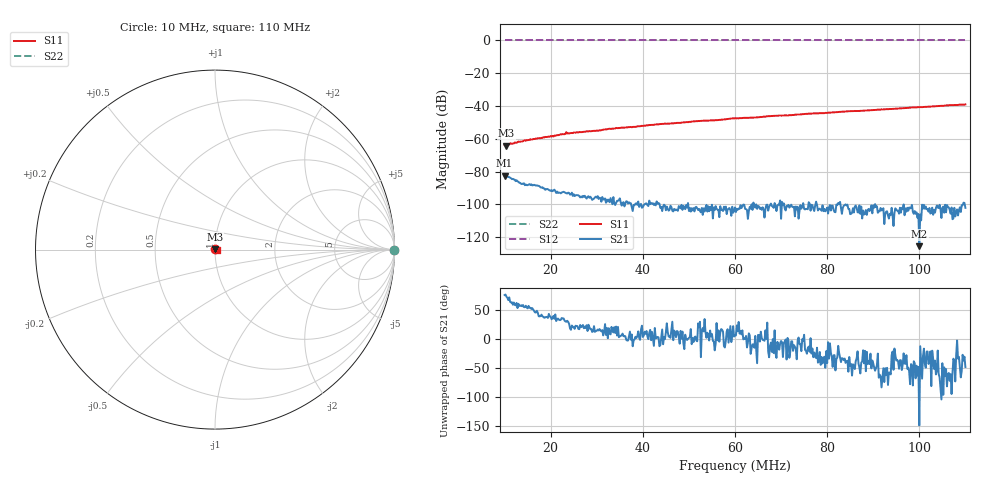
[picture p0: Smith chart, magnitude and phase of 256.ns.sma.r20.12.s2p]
! Anritsu VNA Master:  Model: MS2036C/10/77
! SN:  1601066
! /card0/usr/256.ns.sma.r20.12.s2p
! Existing Calibration Information:
! TYPE:  Current Settings,  Active Cal Settings
! TIME:  12/19/2017 03:41:24 PM,  12/19/2017 03:30:41 PM
! INTERNAL TEMP:  47.8 C,  48.0 C
! # POINTS:  501,  501
! START FREQ:  10.000 MHz,  10.000 MHz
! STOP FREQ:  110.000 MHz,  110.000 MHz
! SOURCE POWER:  High,  High
! IFBW:  100 Hz,  100 Hz
! AVG FACTOR:  1 ,  1
! REF PLANE 1:  0 mm,  0 mm
! REF PLANE 2:  0 mm,  0 mm
! CAL TYPE:  Full S11,  Full S11
! CAL METHOD:  SOLT,  SOLT
! CAL LINE TYPE:  Coax,  Coax
! DUT PORT 1:  N-Conn(F),  N-Conn(F)
! DUT PORT 2:  K-Conn(F),  K-Conn(F)
! CAL STATUS:  OK: Accuracy High,  --
# GHZ S DB R 50.0
! FREQ.GHZ  S11DB  S11A  S21DB  S21A  S12DB  S12A  S22DB  S22A
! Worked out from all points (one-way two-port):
!   501 points, 10 MHz to 110 MHz, reference 50 ohm
!   highest |S21| = -82.59 dB at 10 MHz (marker M1); lowest = -125.6 dB at 100 MHz (marker M2)
!   lowest |S11| = -64.1 dB at 10.4 MHz (marker M3), VSWR 1.00, Z = 50 + j0.062 ohm
!   |S11| at or under -10 dB: start of sweep to end of sweep
!   |S22| runs from 0.0 to 0.0 dB; largest |S21 - S12| = 1
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0.01  -63.76 89.7  -82.59 76.8  0.00 0.0  0.00 0.0
0.0104  -64.14 91.9  -82.73 74.0  0.00 0.0  0.00 0.0
0.0146  -61.16 82.6  -87.95 58.2  0.00 0.0  0.00 0.0
0.0206  -58.64 74.8  -91.50 40.6  0.00 0.0  0.00 0.0
0.0234  -56.02 71.4  -93.29 30.4  0.00 0.0  0.00 0.0
0.0268  -55.96 68.3  -95.82 22.2  0.00 0.0  0.00 0.0
0.0306  -54.79 65.0  -95.98 17.8  0.00 0.0  0.00 0.0
0.0346  -53.51 61.9  -97.83 21.5  0.00 0.0  0.00 0.0
0.038  -52.74 58.4  -100.34 -1.8  0.00 0.0  0.00 0.0
0.0434  -51.16 54.1  -99.31 3.5  0.00 0.0  0.00 0.0
0.0528  -49.08 45.5  -102.22 14.7  0.00 0.0  0.00 0.0
0.056  -48.69 42.7  -102.71 28.2  0.00 0.0  0.00 0.0
0.06  -47.50 38.8  -101.91 6.7  0.00 0.0  0.00 0.0
0.064  -47.11 35.8  -98.96 -9.0  0.00 0.0  0.00 0.0
0.0674  -46.30 32.8  -101.51 -31.0  0.00 0.0  0.00 0.0
0.0718  -45.57 28.5  -102.05 -31.8  0.00 0.0  0.00 0.0
0.0768  -44.58 23.9  -100.57 -15.9  0.00 0.0  0.00 0.0
0.0794  -44.38 21.5  -102.80 -30.1  0.00 0.0  0.00 0.0
0.0838  -43.40 16.8  -100.49 -33.3  0.00 0.0  0.00 0.0
0.0934  -41.89 8.3  -108.74 -57.5  0.00 0.0  0.00 0.0
0.1  -40.72 0.6  -125.57 -149.2  0.00 0.0  0.00 0.0
0.11  -39.07 -10.3  -102.18 -47.9  0.00 0.0  0.00 0.0
